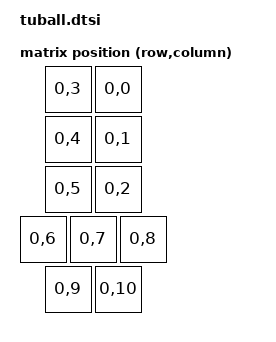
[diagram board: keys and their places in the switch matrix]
#include <dt-bindings/zmk/matrix_transform.h>

/ {
    chosen {
        zmk,physical-layout = &physical_layout0;
    };
    default_transform: keymap_transform_0 {
        compatible = "zmk,matrix-transform";
        columns = <1>;
        rows = <11>;
	/* Map represents trackball in "Landscape" orientation, aka Finger-controlled. */
        map = <
		                 /* Ball */
	         	RC(0,3)              RC(0,0) 
		 RC(0,4)                            RC(0,1)
   		 RC(0,5) 	                    RC(0,2) 
                  /* Buttons on top of the middle deck */
  		       /* Unlock  BTSelect BTReset */ 
                          RC(0,6) RC(0,7)  RC(0,8)        
               /* Slider switches on the bottom of the middle deck */
		/* Handiness L/R   Orientation Thumb/Fingers  */
                      RC(0,9)               RC(0,10)      
        >;
    };
};
